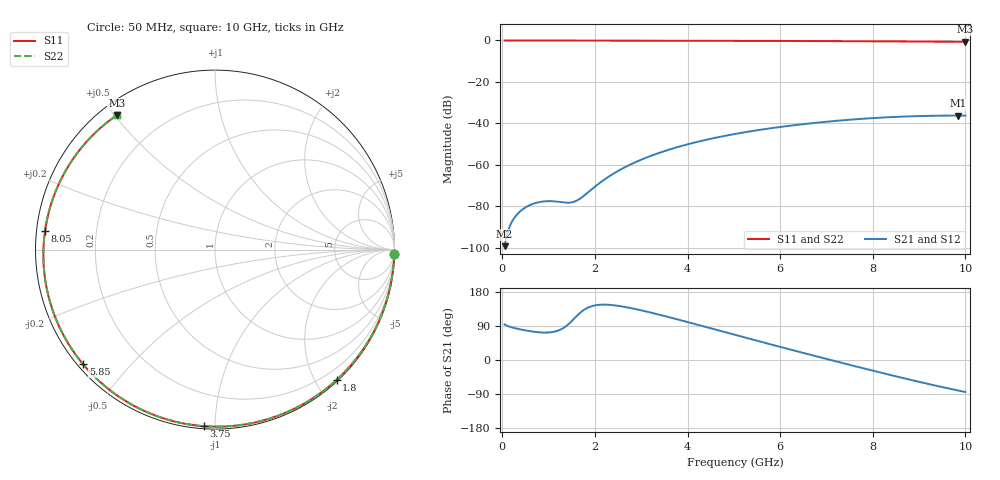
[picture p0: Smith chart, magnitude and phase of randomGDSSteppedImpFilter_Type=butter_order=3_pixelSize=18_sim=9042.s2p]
! freq	dB(S11)	phase(S11)	dB(S12)	phase(S12)
!  dB(S21)	phase(S21)	dB(S22)	phase(S22)
!S-par simulation data
#  GHz  S  DB  R 50
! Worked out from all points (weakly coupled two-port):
!   200 points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, 50 MHz to 10 GHz, reference 50 ohm
!   highest |S21| = -36.28 dB at 9.85 GHz (marker M1); lowest = -99.3 dB at 50 MHz (marker M2)
!   lowest |S11| = -0.7 dB at 10 GHz (marker M3), VSWR 26.44, Z = 2.38 + j25.3 ohm
!   |S11| at or under -10 dB: nowhere
!   |S22| runs from -0.7 to 0.0 dB; largest |S21 - S12| = 0
!   S11 on the Smith chart (normalised r, x): 50 MHz: 2, -89; 1.8 GHz: 0.02, -2.30; 3.75 GHz: 0.01, -0.94; 5.85 GHz: 0.02, -0.37; 8.05 GHz: 0.02, +0.05; 10 GHz: 0.05, +0.51
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0.05  -0.00 -1.3  -99.34 93.8  -99.34 93.8  -0.00 -1.3
0.55  -0.02 -14.6  -80.01 77.0  -80.01 77.0  -0.02 -14.6
0.95  -0.03 -25.2  -77.62 72.4  -77.62 72.4  -0.03 -25.2
1.45  -0.05 -38.1  -78.34 96.8  -78.34 96.8  -0.05 -38.1
1.6  -0.05 -41.9  -77.42 115.2  -77.42 115.2  -0.05 -42.0
1.75  -0.06 -45.7  -75.21 131.1  -75.21 131.1  -0.06 -45.8
1.8  -0.06 -47.0  -74.32 135.1  -74.32 135.1  -0.06 -47.0
2.15  -0.07 -55.7  -68.04 146.1  -68.04 146.1  -0.07 -55.8
2.5  -0.08 -64.3  -63.01 143.0  -63.01 143.0  -0.08 -64.3
2.9  -0.09 -73.9  -58.53 133.8  -58.53 133.8  -0.09 -73.9
3.4  -0.11 -85.6  -54.19 119.3  -54.19 119.3  -0.11 -85.6
3.75  -0.12 -93.6  -51.72 108.3  -51.72 108.3  -0.12 -93.6
4.4  -0.15 -108.0  -47.98 87.1  -47.98 87.1  -0.15 -108.0
5.05  -0.18 -122.1  -45.05 65.6  -45.05 65.6  -0.18 -122.1
5.85  -0.23 -139.0  -42.23 39.5  -42.23 39.5  -0.23 -139.0
6.7  -0.29 -156.9  -39.93 12.3  -39.93 12.3  -0.29 -156.9
7.4  -0.35 -171.8  -38.46 -9.7  -38.46 -9.7  -0.36 -171.8
8.05  -0.42 173.9  -37.43 -29.6  -37.43 -29.6  -0.42 173.8
8.35  -0.45 167.1  -37.06 -38.7  -37.06 -38.7  -0.45 167.0
9.1  -0.54 149.3  -36.46 -60.5  -36.46 -60.5  -0.54 149.3
9.85  -0.64 130.2  -36.28 -80.7  -36.28 -80.7  -0.64 130.1
10  -0.66 126.2  -36.28 -84.5  -36.28 -84.5  -0.66 126.1
